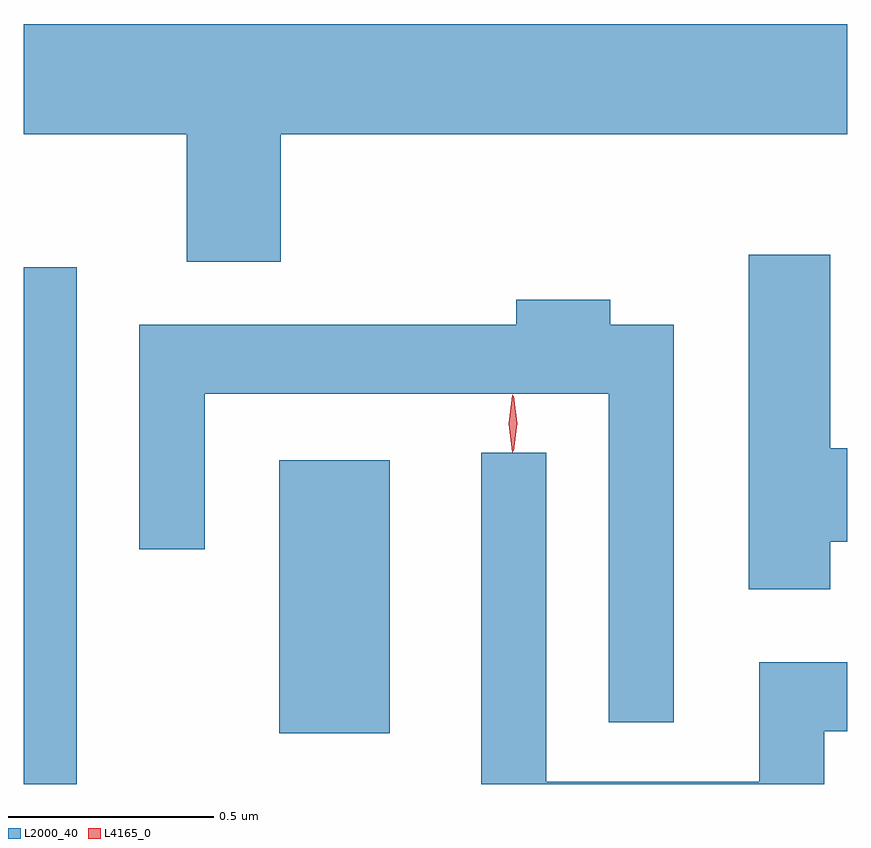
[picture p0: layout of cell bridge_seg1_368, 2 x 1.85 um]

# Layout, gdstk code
import gdstk
lib = gdstk.Library(unit=1e-6, precision=1e-09)
def R(c, l, rs):  # rectangles x0, y0, x1, y1
    for r in rs: c.add(gdstk.rectangle(r[:2], r[2:], *l))
def P(c, l, *ps):  # polygons
    for p in ps: c.add(gdstk.Polygon(p, *l))
L2000_40 = (2000, 40)
L4165_0 = (4165, 0)

bridge_seg1_368 = lib.new_cell('bridge_seg1_368')
R(bridge_seg1_368, L2000_40, [(941.325,884.678,941.454,885.933), (941.946,884.801,942.214,885.464)])
P(bridge_seg1_368, L2000_40, [(941.949,886.256),(943.325,886.256),(943.325,886.524),(941.325,886.524),(941.325,886.256),(941.721,886.256),(941.721,885.946),(941.949,885.946)],
  [(943.284,885.266),(943.325,885.266),(943.325,885.494),(943.284,885.494),(943.284,885.964),(943.086,885.964),(943.086,885.151),(943.284,885.151)],
  [(942.904,885.794),(942.749,885.794),(942.749,885.854),(942.521,885.854),(942.521,885.794),(941.606,885.794),(941.606,885.248),(941.764,885.248),(941.764,885.626),(942.746,885.626),(942.746,884.828),(942.904,884.828)],
  [(943.269,884.806),(943.325,884.806),(943.325,884.974),(943.111,884.974),(943.111,884.684),(942.594,884.684),(942.594,885.483),(942.436,885.483),(942.436,884.678),(943.269,884.678)])
P(bridge_seg1_368, L4165_0, [(942.515,885.487),(942.514,885.488),(942.505,885.554),(942.514,885.62),(942.514,885.62),(942.515,885.62),(942.524,885.554),(942.515,885.488)],
  [(942.512,885.484),(942.503,885.553),(942.512,885.622),(942.513,885.623),(942.513,885.622),(942.523,885.553),(942.513,885.484),(942.513,885.484)])

lib.write_gds('bridge_seg1_368.gds')
